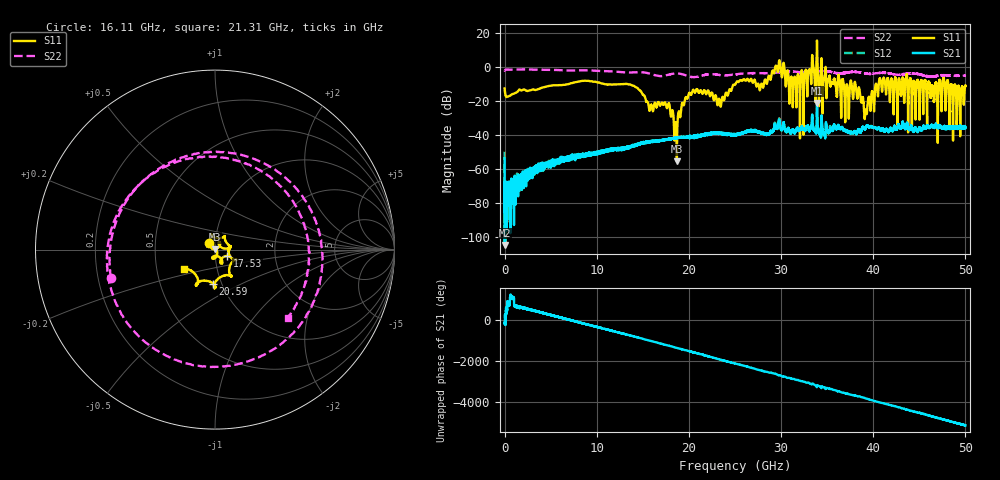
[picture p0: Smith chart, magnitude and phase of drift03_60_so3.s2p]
!Created with skrf (http://scikit-rf.org).
# Hz S RI R 50.0
!freq ReS11 ImS11 ReS21 ImS21 ReS12 ImS12 ReS22 ImS22
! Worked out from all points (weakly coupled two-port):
!   10001 points, 300 kHz to 50 GHz, reference 50 ohm
!   highest |S21| = -21.12 dB at 33.9 GHz (marker M1); lowest = -104.9 dB at 25.3 MHz (marker M2)
!   lowest |S11| = -55.6 dB at 18.69 GHz (marker M3), VSWR 1.00, Z = 49.9 + j0.142 ohm
!   |S11| at or under -10 dB: start of sweep to 6.944 GHz; 13.32 GHz to 25.05 GHz (11.73 GHz wide, 61.1 % of centre); 38.07 GHz to 40.27 GHz (2.19 GHz wide, 5.59 % of centre) (the widest 3 of 53)
!   |S22| runs from -5.9 to -1.3 dB; largest |S21 - S12| = 0.0087
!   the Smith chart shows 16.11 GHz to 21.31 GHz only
!   S11 on the Smith chart (normalised r, x): 16.11 GHz: 0.93, +0.07; 17.53 GHz: 1.14, -0.08; 20.59 GHz: 0.91, -0.36; 21.31 GHz: 0.69, -0.16
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300000  -0.2109 -0.1023  -0.00202 -0.000294  0.000565 0.00315  -0.7706 -0.195
2.529985e7  -0.194 0.0448  -5.39e-06 1.73e-06  -8.1e-05 3.5e-05  -0.8058 0.00807
1.530291e9  0.2031 0.0457  -4.59e-05 -0.000617  -0.000222 -0.00047  0.8486 0.0856
3.160281e9  -0.2187 -0.00858  -2.01e-05 0.000794  9.51e-05 0.000897  -0.8444 -0.0247
4.665272e9  0.2635 0.0611  0.000107 -0.00141  -5.03e-05 -0.00121  0.8187 0.142
6.360262e9  -0.2998 0.000419  0.000475 0.00173  0.000472 0.00174  -0.8039 -0.0425
8.33525e9  0.2837 -0.2678  -0.00228 -0.000933  -0.00213 -0.000928  0.602 -0.5358
1.043024e10  -0.0425 0.3323  0.00244 -0.00152  0.00264 -0.00214  -0.0366 0.7699
1.201523e10  0.00702 -0.3084  -0.0028 0.00284  -0.00271 0.00262  0.1066 -0.7296
1.61102e10  -0.0325 0.0389  0.00621 0.00225  0.00609 0.00223  -0.5795 -0.1568
1.66702e10  0.0541 0.075  0.00457 -0.00477  0.00463 -0.00484  -0.359 0.4179
1.752519e10  0.0673 -0.0351  -0.00604 -0.00369  -0.00604 -0.00386  0.491 0.2906
1.869019e10  -0.000872 0.00142  0.00228 0.0078  0.00247 0.00808  -0.0837 -0.649
2.059018e10  -0.0105 -0.189  -0.00891 -0.00419  -0.00785 -0.00442  0.3844 0.3309
2.131017e10  -0.1723 -0.109  -0.00547 0.00762  -0.00509 0.00791  0.4046 -0.3802
2.500015e10  -0.2967 -0.0482  0.00798 0.00652  0.0076 0.00661  -0.1841 -0.5812
3.051012e10  0.2468 -0.1042  -0.00241 0.0122  -0.00254 0.0128  0.7416 -0.0599
3.213011e10  0.1986 0.3746  -0.000392 -0.0146  -0.000469 -0.015  -0.6973 0.00542
3.33351e10  0.4801 -1.015  -0.00466 0.0256  -0.00606 0.0248  0.6138 0.3652
3.38951e10  -0.7228 -6.087  0.0874 0.00922  0.0794 0.0059  0.6774 -0.3206
4.167005e10  -0.2219 0.2855  -0.0117 -0.00416  -0.0115 -0.00512  -0.6478 -0.0532
5e10  -0.1422 -0.248  0.00131 -0.0171  0.00201 -0.0164  0.4681 -0.3161
